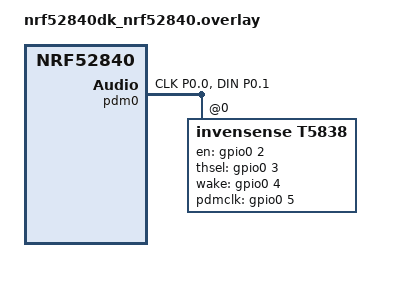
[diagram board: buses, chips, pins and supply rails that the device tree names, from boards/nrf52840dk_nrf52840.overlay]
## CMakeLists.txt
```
# SPDX-License-Identifier: Apache-2.0

cmake_minimum_required(VERSION 3.20.0)

# Infuse-IoT application
if(NOT infuse IN_LIST SNIPPET)
  set(SNIPPET infuse ${SNIPPET} CACHE STRING "" FORCE)
endif()

find_package(Zephyr REQUIRED HINTS $ENV{ZEPHYR_BASE})
project(audio_bt_stream)

target_sources(app PRIVATE
  src/main.c
)
```

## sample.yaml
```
sample:
  description: Stream Audio over Bluetooth using TDF
  name: Audio Bluetooth Stream
common:
  tags:
    - sample
    - audio
    - data_logger
    - epacket
    - gnss
    - imu
    - kv_store
    - logging
    - math
    - modem_monitor
    - rpc
    - states
    - task_runner
    - tdf
    - time
    - watchdog
    - zbus
  build_only: true
  required_snippets:
    - infuse
  filter: dt_compat_enabled("invensense,t5838")
  integration_platforms:
    - nrf52840dk/nrf52840
tests:
  sample.audio.bluetooth_stream: {}
```

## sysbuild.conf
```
SB_CONFIG_INFUSE_INTEGRATION=y
```

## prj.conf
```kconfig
CONFIG_INFUSE_SDK=y
CONFIG_AUDIO=y
CONFIG_AUDIO_DMIC=y

CONFIG_TASK_RUNNER=y
CONFIG_TASK_RUNNER_AUTO_ITERATE=y
CONFIG_TASK_RUNNER_TASK_TDF_LOGGER=y

CONFIG_EPACKET_BUFFERS_TX=16
```

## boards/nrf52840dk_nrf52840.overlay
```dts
/*
 * Copyright (c) 2025 Embeint Holdings Pty Ltd
 *
 * SPDX-License-Identifier: Apache-2.0
 */

/{
	aliases {
		dmic-dev = &t5838;
	};
};

&pinctrl {
	pdm0_default: pdm0_default {
		group1 {
			psels = <NRF_PSEL(PDM_CLK, 0, 0)>,
				<NRF_PSEL(PDM_DIN, 0, 1)>;
		};
	};
};

&pdm0 {
	status = "okay";
	pinctrl-0 = <&pdm0_default>;
	pinctrl-names = "default";
	clock-source = "PCLK32M_HFXO";
	#address-cells = < 0x1 >;
	#size-cells = < 0x0 >;

	t5838: t5838@0 {
		compatible = "invensense,t5838";
		status = "okay";
		reg = <0x0>;
		en-gpios = <&gpio0 2 (GPIO_ACTIVE_HIGH)>;
		thsel-gpios = <&gpio0 3 GPIO_ACTIVE_HIGH>;
		wake-gpios = <&gpio0 4 GPIO_ACTIVE_HIGH>;
		pdmclk-gpios = <&gpio0 5 GPIO_ACTIVE_HIGH>;
		/* Low power mode */
		clk-frequency-min = <400000>;
		clk-frequency-max = <800000>;
		clk-duty-cycle-min = <45>;
		clk-duty-cycle-max = <55>;
		channel-left;
		zephyr,pm-device-runtime-auto;
	};
};
```

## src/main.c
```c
/**
 * @file
 * @copyright 2025 Embeint Holdings Pty Ltd
 * @author Jordan Yates <jordan@embeint.com>
 *
 * SPDX-License-Identifier: FSL-1.1-ALv2
 */

#include <stdio.h>

#include <zephyr/kernel.h>
#include <zephyr/device.h>
#include <zephyr/devicetree.h>
#include <zephyr/logging/log.h>
#include <zephyr/pm/device_runtime.h>
#include <zephyr/audio/dmic.h>

#include <infuse/data_logger/high_level/tdf.h>
#include <infuse/drivers/watchdog.h>
#include <infuse/tdf/definitions.h>
#include <infuse/time/epoch.h>
#include <infuse/zbus/channels.h>

#include <infuse/task_runner/runner.h>
#include <infuse/task_runner/tasks/infuse_tasks.h>

static const struct task_schedule schedules[] = {
	{
		.task_id = TASK_ID_TDF_LOGGER,
		.validity = TASK_VALID_ALWAYS,
		.task_args.tdf_logger =
			{
				.loggers = TDF_DATA_LOGGER_BT_ADV,
				.logging_period_ms = 900,
				.random_delay_ms = 250,
				.tdfs = TASK_TDF_LOGGER_LOG_ANNOUNCE,
			},
	},
};

TASK_SCHEDULE_STATES_DEFINE(states, schedules);
TASK_RUNNER_TASKS_DEFINE(app_tasks, app_tasks_data, (TDF_LOGGER_TASK, NULL));

/* Empty battery channel, required for TDF broadcast activity */
INFUSE_ZBUS_CHAN_DEFINE(INFUSE_ZBUS_CHAN_BATTERY);

/* Microphone configuration */
#define MIC                DT_ALIAS(dmic_dev)
#define MIC_SAMPLE_RATE    16000
#define MIC_BUFFER_SAMPLES 256
K_MEM_SLAB_DEFINE_STATIC(mem_slab, MIC_BUFFER_SAMPLES * sizeof(int16_t), 8, sizeof(void *));
BUILD_ASSERT(PDM_DT_HAS_LEFT_CHANNEL(MIC) + PDM_DT_HAS_RIGHT_CHANNEL(MIC) == 1,
	     "Sample requires a single channel");

LOG_MODULE_REGISTER(app, LOG_LEVEL_INF);

int main(void)
{
	const struct device *dmic = DEVICE_DT_GET(MIC);
	uint32_t buffer_duration_ms;
	uint32_t buffer_duration_epoch;
	uint16_t tdf_id;
	int rc;

	if (!device_is_ready(dmic)) {
		LOG_ERR("Microphone %s is not ready", dmic->name);
		return -ENODEV;
	}

	/* Start the watchdog */
	(void)infuse_watchdog_start();

	/* Initialise task runner */
	task_runner_init(schedules, states, ARRAY_SIZE(schedules), app_tasks, app_tasks_data,
			 ARRAY_SIZE(app_tasks));

	/* Start auto iteration */
	task_runner_start_auto_iterate();

	LOG_INF("Microphone: %s", dmic->name);

	/* Power up device */
	rc = pm_device_runtime_get(dmic);
	if (rc < 0) {
		LOG_ERR("Failed to power up microphone (%d)", rc);
		return rc;
	}

	struct pcm_stream_cfg stream = {
		.pcm_width = 16,
		.mem_slab = &mem_slab,
	};
	struct dmic_cfg cfg = {
		.io = PDM_DT_IO_CFG_GET(MIC),
		.streams = &stream,
		.channel =
			{
				.req_num_streams = 1,
			},
	};
	cfg.channel.req_num_chan = 1;

#if PDM_DT_HAS_LEFT_CHANNEL(MIC)
	tdf_id = TDF_PCM_16BIT_CHAN_LEFT;
	cfg.channel.req_chan_map_lo = dmic_build_channel_map(0, 0, PDM_CHAN_LEFT);
#elif PDM_DT_HAS_RIGHT_CHANNEL(MIC)
	tdf_id = TDF_PCM_16BIT_CHAN_RIGHT;
	cfg.channel.req_chan_map_lo = dmic_build_channel_map(0, 0, PDM_CHAN_RIGHT);
#endif
	cfg.streams[0].pcm_rate = MIC_SAMPLE_RATE;
	cfg.streams[0].block_size = MIC_BUFFER_SAMPLES * sizeof(int16_t);

	buffer_duration_ms = (1000 * MIC_BUFFER_SAMPLES) / MIC_SAMPLE_RATE;
	buffer_duration_epoch =
		(INFUSE_EPOCH_TIME_TICKS_PER_SEC * MIC_BUFFER_SAMPLES) / MIC_SAMPLE_RATE;
	LOG_INF("Output Rate: %u Hz, Buffer Duration: %u ms", cfg.streams[0].pcm_rate,
		buffer_duration_ms);

	/* Configure microphone */
	rc = dmic_configure(dmic, &cfg);
	if (rc < 0) {
		LOG_ERR("Failed to configure microphone (%d)", rc);
		return rc;
	}

	/* Start the sampling */
	rc = dmic_trigger(dmic, DMIC_TRIGGER_START);
	if (rc < 0) {
		LOG_ERR("Failed to start microphone (%d)", rc);
		return rc;
	}

	struct tdf_idx_array_freq audio_freq = {
		.tdf_id = tdf_id,
		.frequency = MIC_SAMPLE_RATE,
	};
	uint32_t metadata_timestamp = UINT32_MAX;
	uint16_t sample_index = 0;

	for (;;) {

		int16_t *data;
		void *buffer;
		uint32_t size;
		uint32_t num_samples;
		int64_t t_base;

		/* Push audio metadata into the stream every second */
		if (metadata_timestamp != k_uptime_seconds()) {
			TDF_DATA_LOGGER_LOG(TDF_DATA_LOGGER_BT_PERIPHERAL, TDF_IDX_ARRAY_FREQ, 0,
					    &audio_freq);
			metadata_timestamp = k_uptime_seconds();
		}

		/* Read the next buffer from the microphone */
		rc = dmic_read(dmic, 0, &buffer, &size, 2 * buffer_duration_ms);
		if (rc < 0) {
			LOG_ERR("Failed to read from microphone (%d)", rc);
			break;
		}

		/* Rough timestamping */
		t_base = epoch_time_now() - buffer_duration_epoch;
		data = buffer;
		num_samples = size / sizeof(int16_t);

		/* Push data across Bluetooth link */
		while (num_samples) {
			uint8_t to_log = MIN(num_samples, UINT8_MAX);

			tdf_data_logger_log_core(TDF_DATA_LOGGER_BT_PERIPHERAL, tdf_id,
						 sizeof(int16_t), to_log, TDF_DATA_FORMAT_IDX_ARRAY,
						 t_base, sample_index, data);
			t_base = 0;
			data += to_log;
			num_samples -= to_log;
			sample_index += to_log;
		}

		/* Free the memory buffer */
		k_mem_slab_free(&mem_slab, buffer);
	}

	/* Stop the sampling */
	rc = dmic_trigger(dmic, DMIC_TRIGGER_STOP);
	if (rc < 0) {
		LOG_ERR("Failed to stop microphone (%d)", rc);
	}

	(void)pm_device_runtime_put(dmic);
	return 0;
}
```
